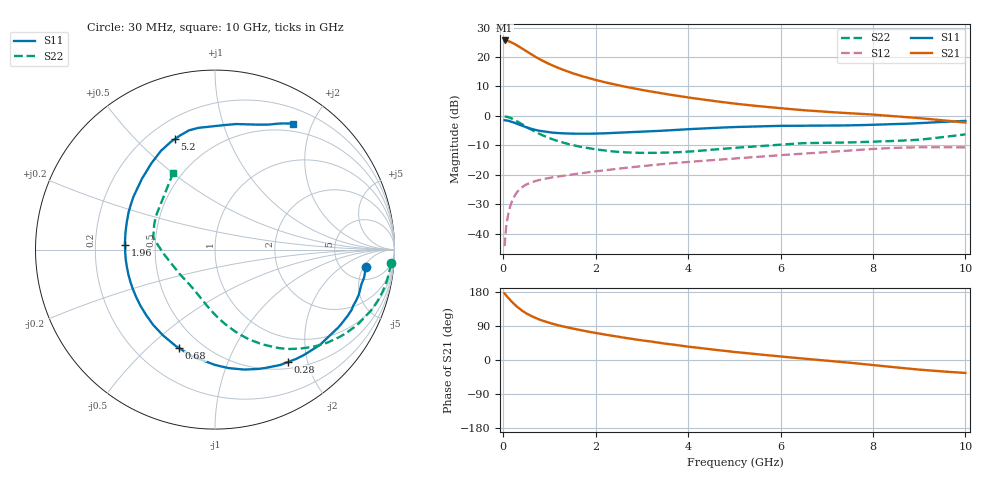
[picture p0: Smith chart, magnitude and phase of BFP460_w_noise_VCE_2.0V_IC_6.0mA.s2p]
! (c) 2016  Infineon Technologies AG, Munich
! Infineon Technologies  Discrete & RF Semiconductors
! BFP460
! VCE =  2.0 V,  IC =  6.0 mA
! Common Emitter S-Parameters:  Jan 2016
# GHz  S  MA  R  50
!  f  S11  S21  S12  S22
! GHz  MAG  ANG  MAG  ANG  MAG  ANG  MAG  ANG
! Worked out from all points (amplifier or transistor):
!   229 points, 30 MHz to 10 GHz, reference 50 ohm
!   highest |S21| = 25.6 dB at 30 MHz (marker M1)
!   |S21| within 3 dB of that: start of sweep to 432.5 MHz
!   unconditionally stable (mu >= 1): 2.899 GHz to 8.238 GHz
!   at 280 MHz: K = 0.18, MSG = 25.2 dB, |S12| = -26.3 dB
!   at 1.78 GHz: K = 0.81, MSG = 16.2 dB, |S12| = -19.2 dB
!   at 10 GHz: K = 0.97, MSG = 4.2 dB, |S12| = -10.6 dB
!   lowest NFmin = 0.83 dB at 450 MHz
!   S11 on the Smith chart (normalised r, x): 30 MHz: 8.15, -5.60; 280 MHz: 0.60, -1.69; 680 MHz: 0.38, -0.63; 1.96 GHz: 0.33, +0.02; 5.2 GHz: 0.30, +0.66; 10 GHz: 0.39, +1.72
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0.03  0.8466 -6.6  19.07 175.9  0.0062 86.4  0.9826 -4.5
0.05  0.8451 -10.7  18.92 172.0  0.0101 84.3  0.9789 -7.4
0.07  0.8383 -15.4  18.96 169.2  0.0144 81.9  0.9733 -10.3
0.15  0.8122 -32.3  18.05 158.2  0.0292 73.1  0.9319 -21.6
0.2  0.7898 -42.3  17.38 151.9  0.0375 68.3  0.8959 -28.1
0.28  0.747 -56.9  16.04 142.7  0.0485 61.3  0.8292 -37.3
0.36  0.7064 -70.3  14.68 134.5  0.0575 55.8  0.7621 -45.5
0.45  0.6645 -83.5  13.23 126.7  0.0654 50.7  0.6908 -53.3
0.6  0.6085 -101.9  11.15 116.3  0.0746 44.9  0.5901 -63.5
0.68  0.584 -110.1  10.24 111.9  0.0783 42.7  0.546 -68.0
0.9  0.5428 -129.4  8.27 101.7  0.0862 38.8  0.4526 -78.1
1.1  0.5198 -143.2  6.994 94.5  0.0919 36.9  0.3941 -85.5
1.4  0.5042 -159.5  5.656 85.6  0.0997 35.5  0.3354 -94.4
1.7  0.5005 -172.8  4.742 78.1  0.1072 34.9  0.2977 -102.0
1.96  0.5021 177.3  4.162 72.2  0.1139 34.4  0.2751 -108.2
2.6  0.5239 157.2  3.178 59.1  0.1308 33.1  0.2428 -124.2
3.4  0.56 138.1  2.44 45.1  0.1514 30.5  0.2381 -143.8
5.1  0.652 111.1  1.592 20.1  0.1921 24.3  0.2915 -176.9
5.2  0.6551 110.0  1.562 18.9  0.1949 23.9  0.2949 -178.0
6.8  0.6843 94.9  1.204 0.5  0.2379 16.2  0.3494 168.7
8.4  0.7224 74.9  1.001 -18.3  0.2862 4.6  0.3758 151.6
10  0.8245 58.4  0.774 -34.2  0.2935 -7.1  0.4877 118.4
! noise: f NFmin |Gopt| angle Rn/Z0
0.45  0.83  0.28  16  0.15
0.9  0.84  0.26  37  0.16
1.9  1.07  0.14  103  0.12
3.5  1.18  0.31  -149  0.11
